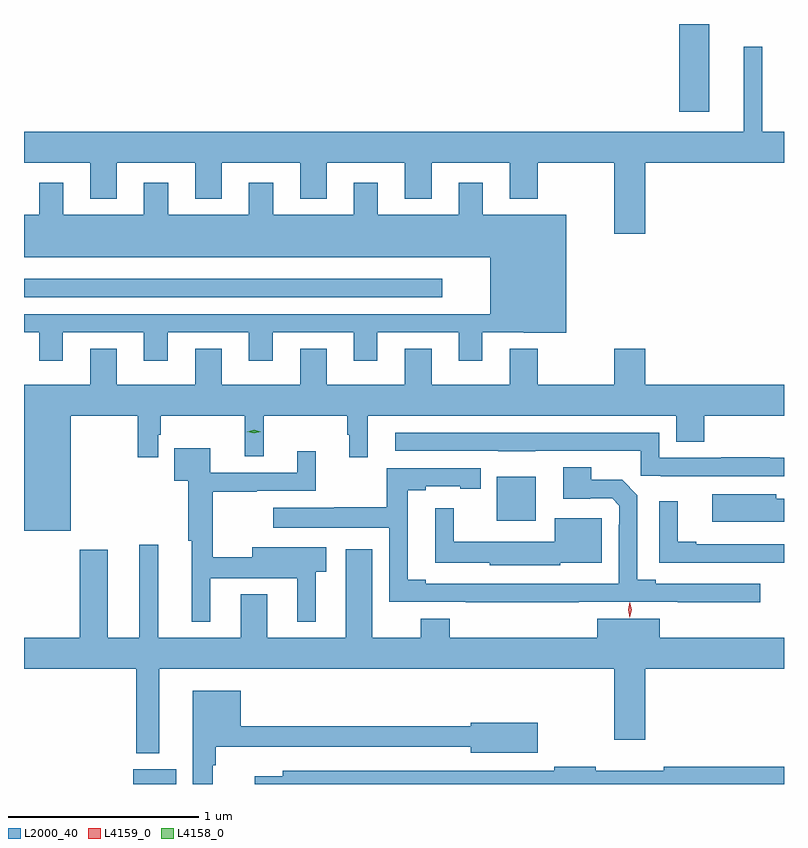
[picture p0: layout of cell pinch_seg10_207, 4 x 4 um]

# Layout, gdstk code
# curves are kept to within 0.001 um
import gdstk
lib = gdstk.Library(unit=1e-6, precision=1e-09)
def R(c, l, rs):  # rectangles x0, y0, x1, y1
    for r in rs: c.add(gdstk.rectangle(r[:2], r[2:], *l))
def P(c, l, *ps):  # polygons
    for p in ps: c.add(gdstk.Polygon(p, *l))
L2000_40 = (2000, 40)
L4158_0 = (4158, 0)
L4159_0 = (4159, 0)

pinch_seg10_207 = lib.new_cell('pinch_seg10_207')
R(pinch_seg10_207, L2000_40, [(845.792,1286.39,846.019,1286.467), (847.706,1287.776,847.912,1288.006), (845.218,1288.953,847.42,1289.049), (848.666,1289.928,848.824,1290.39)])
P(pinch_seg10_207, L2000_40, [(848.488,1289.66),(849.218,1289.66),(849.218,1289.824),(849.104,1289.824),(849.104,1290.271),(849.005,1290.271),(849.005,1289.824),(845.218,1289.824),(845.218,1289.66),(845.567,1289.66),(845.567,1289.471),(845.707,1289.471),(845.707,1289.66),(846.119,1289.66),(846.119,1289.471),(846.259,1289.471),(846.259,1289.66),(846.671,1289.66),(846.671,1289.471),(846.811,1289.471),(846.811,1289.66),(847.223,1289.66),(847.223,1289.471),(847.363,1289.471),(847.363,1289.66),(847.775,1289.66),(847.775,1289.471),(847.923,1289.471),(847.923,1289.66),(848.324,1289.66),(848.324,1289.286),(848.488,1289.286)],
  [(845.422,1288.767),(845.849,1288.767),(845.849,1288.617),(845.974,1288.617),(845.974,1288.767),(846.401,1288.767),(846.401,1288.617),(846.526,1288.617),(846.526,1288.767),(846.953,1288.767),(846.953,1288.617),(847.078,1288.617),(847.078,1288.767),(847.505,1288.767),(847.505,1288.617),(847.63,1288.617),(847.63,1288.767),(847.847,1288.767),(847.847,1288.766),(848.071,1288.766),(848.071,1289.386),(847.633,1289.386),(847.633,1289.554),(847.505,1289.554),(847.505,1289.386),(847.081,1289.386),(847.081,1289.554),(846.953,1289.554),(846.953,1289.386),(846.529,1289.386),(846.529,1289.554),(846.401,1289.554),(846.401,1289.386),(845.977,1289.386),(845.977,1289.554),(845.849,1289.554),(845.849,1289.386),(845.425,1289.386),(845.425,1289.554),(845.297,1289.554),(845.297,1289.386),(845.218,1289.386),(845.218,1289.162),(847.673,1289.162),(847.673,1288.863),(845.218,1288.863),(845.218,1288.767),(845.297,1288.767),(845.297,1288.617),(845.422,1288.617)],
  [(845.464,1288.328),(845.817,1288.328),(845.817,1288.11),(845.925,1288.11),(845.925,1288.227),(845.938,1288.227),(845.938,1288.328),(846.38,1288.328),(846.38,1288.114),(846.479,1288.114),(846.479,1288.328),(846.918,1288.328),(846.918,1288.227),(846.929,1288.227),(846.929,1288.11),(847.027,1288.11),(847.027,1288.328),(848.651,1288.328),(848.651,1288.192),(848.799,1288.192),(848.799,1288.328),(849.218,1288.328),(849.218,1288.492),(848.488,1288.492),(848.488,1288.681),(848.324,1288.681),(848.324,1288.492),(847.923,1288.492),(847.923,1288.681),(847.775,1288.681),(847.775,1288.492),(847.363,1288.492),(847.363,1288.682),(847.223,1288.682),(847.223,1288.492),(846.811,1288.492),(846.811,1288.682),(846.671,1288.682),(846.671,1288.492),(846.259,1288.492),(846.259,1288.682),(846.119,1288.682),(846.119,1288.492),(845.707,1288.492),(845.707,1288.682),(845.567,1288.682),(845.567,1288.492),(845.218,1288.492),(845.218,1287.722),(845.464,1287.722)],
  [(848.753,1288.011),(849.218,1288.011),(849.218,1288.107),(849.143,1288.107),(849.143,1288.11),(848.887,1288.11),(848.887,1288.107),(848.562,1288.107),(848.562,1288.239),(847.173,1288.239),(847.173,1288.143),(847.714,1288.143),(847.714,1288.142),(847.908,1288.142),(847.908,1288.143),(848.465,1288.143),(848.465,1288.012),(848.569,1288.012),(848.569,1288.01),(848.753,1288.01)],
  [(846.199,1287.473),(846.656,1287.473),(846.656,1287.245),(846.754,1287.245),(846.754,1287.508),(846.808,1287.508),(846.808,1287.637),(846.419,1287.637),(846.419,1287.584),(846.211,1287.584),(846.211,1287.928),(846.443,1287.928),(846.443,1287.933),(846.754,1287.933),(846.754,1288.141),(846.656,1288.141),(846.656,1288.029),(846.198,1288.029),(846.198,1288.156),(846.01,1288.156),(846.01,1287.986),(846.082,1287.986),(846.082,1287.67),(846.101,1287.67),(846.101,1287.245),(846.199,1287.245)],
  [(848.138,1287.348),(849.094,1287.347),(849.094,1287.444),(848.542,1287.444),(848.542,1287.464),(848.446,1287.464),(848.446,1287.911),(848.366,1287.991),(848.203,1287.991),(848.203,1288.058),(848.055,1288.058),(848.055,1287.891),(848.199,1287.891),(848.199,1287.894),(848.313,1287.894),(848.352,1287.855),(848.352,1287.755),(848.349,1287.755),(848.349,1287.444),(847.333,1287.444),(847.333,1287.464),(847.237,1287.464),(847.237,1287.937),(847.333,1287.937),(847.333,1287.957),(847.514,1287.957),(847.514,1287.945),(847.621,1287.945),(847.621,1288.053),(847.128,1288.053),(847.128,1287.847),(846.85,1287.847),(846.85,1287.844),(846.531,1287.844),(846.531,1287.74),(847.14,1287.74),(847.14,1287.348)],
  [(849.218,1287.892),(849.177,1287.892),(849.177,1287.916),(848.841,1287.916),(848.841,1287.77),(849.218,1287.77)],
  [(849.218,1287.651),(848.755,1287.651),(848.755,1287.664),(848.66,1287.664),(848.66,1287.877),(848.562,1287.877),(848.562,1287.555),(849.218,1287.555)],
  [(848.04,1287.554),(848.26,1287.554),(848.26,1287.79),(848.012,1287.79),(848.012,1287.664),(847.481,1287.664),(847.481,1287.841),(847.382,1287.841),(847.382,1287.555),(847.668,1287.555),(847.668,1287.542),(848.04,1287.542)],
  [(845.929,1286.996),(848.324,1286.996),(848.324,1286.622),(848.488,1286.622),(848.488,1286.996),(849.218,1286.996),(849.218,1287.16),(848.563,1287.16),(848.563,1287.259),(848.234,1287.259),(848.234,1287.16),(847.46,1287.16),(847.46,1287.259),(847.307,1287.259),(847.307,1287.16),(847.051,1287.16),(847.051,1287.625),(846.911,1287.625),(846.911,1287.16),(846.499,1287.16),(846.499,1287.388),(846.359,1287.388),(846.359,1287.16),(845.924,1287.16),(845.924,1287.649),(845.825,1287.649),(845.825,1287.16),(845.659,1287.16),(845.659,1287.622),(845.512,1287.622),(845.512,1287.16),(845.218,1287.16),(845.218,1286.996),(845.808,1286.996),(845.808,1286.552),(845.929,1286.552)],
  [(846.211,1286.489),(846.226,1286.489),(846.226,1286.585),(846.444,1286.585),(846.444,1286.586),(847.568,1286.586),(847.568,1286.555),(847.921,1286.555),(847.921,1286.713),(847.568,1286.713),(847.568,1286.695),(846.358,1286.695),(846.358,1286.881),(846.107,1286.881),(846.107,1286.39),(846.211,1286.39)],
  [(849.218,1286.48),(848.584,1286.48),(848.584,1286.461),(848.228,1286.461),(848.228,1286.48),(848.008,1286.48),(848.008,1286.46),(846.581,1286.46),(846.581,1286.431),(846.432,1286.431),(846.432,1286.39),(849.218,1286.39)])
P(pinch_seg10_207, L4158_0, [(846.429,1288.235),(846.393,1288.245),(846.393,1288.245),(846.393,1288.245),(846.429,1288.255),(846.465,1288.244),(846.465,1288.244),(846.465,1288.244)])
P(pinch_seg10_207, L4159_0, [(848.407,1287.266),(848.407,1287.266),(848.397,1287.306),(848.407,1287.346),(848.407,1287.347),(848.407,1287.346),(848.417,1287.306),(848.407,1287.266)])

lib.write_gds('pinch_seg10_207.gds')
